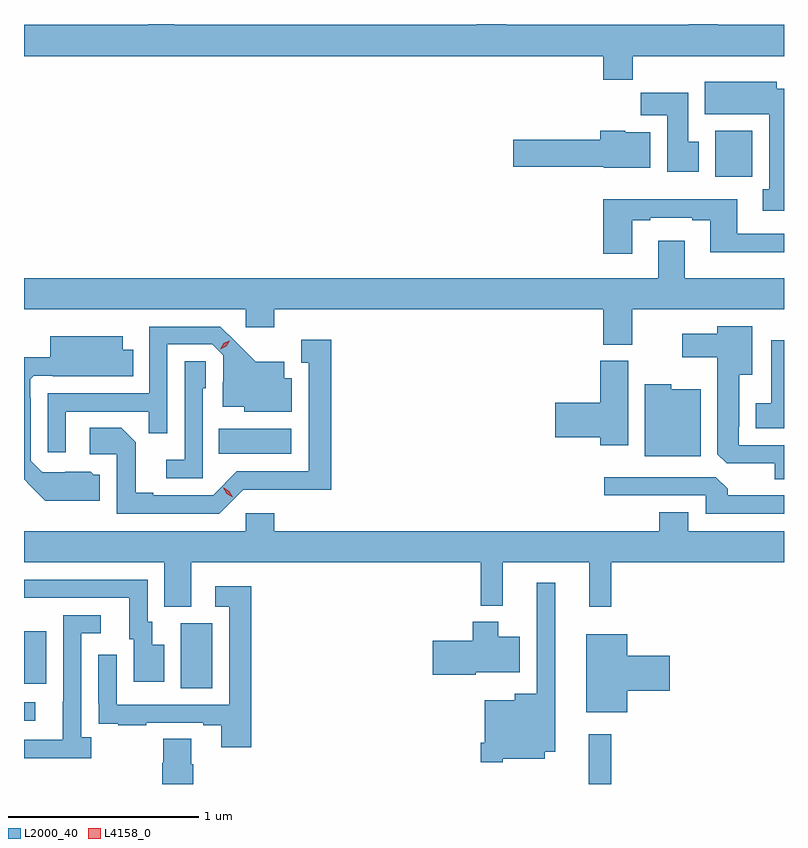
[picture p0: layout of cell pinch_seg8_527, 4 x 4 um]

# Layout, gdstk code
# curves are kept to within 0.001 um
import gdstk
lib = gdstk.Library(unit=1e-6, precision=1e-09)
def R(c, l, rs):  # rectangles x0, y0, x1, y1
    for r in rs: c.add(gdstk.rectangle(r[:2], r[2:], *l))
def P(c, l, *ps):  # polygons
    for p in ps: c.add(gdstk.Polygon(p, *l))
L2000_40 = (2000, 40)
L4158_0 = (4158, 0)

pinch_seg8_527 = lib.new_cell('pinch_seg8_527')
R(pinch_seg8_527, L2000_40, [(121.111,1103.345,121.229,1103.608), (118.138,1103.679,118.198,1103.775), (118.964,1103.848,119.128,1104.192), (118.138,1103.873,118.255,1104.148), (119.164,1105.082,119.545,1105.216), (121.775,1106.54,121.972,1106.782)])
P(pinch_seg8_527, L2000_40, [(121.343,1107.176),(122.138,1107.176),(122.138,1107.34),(121.79,1107.34),(121.79,1107.345),(121.637,1107.345),(121.637,1107.34),(120.677,1107.34),(120.677,1107.345),(120.521,1107.345),(120.521,1107.34),(118.93,1107.34),(118.93,1107.345),(118.791,1107.345),(118.791,1107.34),(118.138,1107.34),(118.138,1107.176),(121.187,1107.176),(121.187,1107.052),(121.343,1107.052)],
  [(122.138,1107.004),(122.101,1107.004),(122.101,1107.04),(121.721,1107.04),(121.721,1106.87),(122.06,1106.87),(122.06,1106.474),(122.027,1106.474),(122.027,1106.361),(122.138,1106.361)],
  [(121.69,1106.724),(121.633,1106.724),(121.633,1106.982),(121.384,1106.982),(121.384,1106.864),(121.523,1106.864),(121.523,1106.568),(121.69,1106.568)],
  [(121.435,1106.776),(121.302,1106.776),(121.302,1106.782),(121.172,1106.782),(121.172,1106.736),(120.714,1106.736),(120.714,1106.594),(121.188,1106.594),(121.188,1106.588),(121.435,1106.588)],
  [(121.339,1106.313),(121.435,1106.313),(121.435,1106.325),(121.655,1106.325),(121.655,1106.313),(121.751,1106.313),(121.751,1106.144),(122.138,1106.144),(122.138,1106.241),(121.891,1106.241),(121.891,1106.422),(121.187,1106.422),(121.187,1106.136),(121.339,1106.136)],
  [(121.339,1105.844),(122.138,1105.844),(122.138,1106.008),(121.615,1106.008),(121.615,1106.203),(121.475,1106.203),(121.475,1106.008),(118.138,1106.008),(118.138,1105.844),(119.304,1105.844),(119.304,1105.749),(119.456,1105.749),(119.456,1105.844),(121.187,1105.844),(121.187,1105.657),(121.339,1105.657)],
  [(122.138,1105.128),(121.899,1105.128),(121.899,1105.225),(121.903,1105.225),(121.903,1105.499),(121.972,1105.499),(121.972,1105.753),(121.787,1105.753),(121.787,1105.714),(121.602,1105.714),(121.602,1105.592),(121.787,1105.592),(121.787,1105.081),(121.836,1105.032),(122.09,1105.032),(122.09,1104.949),(122.138,1104.949)],
  [(118.359,1105.305),(118.795,1105.305),(118.795,1105.192),(118.893,1105.192),(118.893,1105.659),(119.13,1105.659),(119.187,1105.602),(119.187,1105.46),(119.183,1105.46),(119.183,1105.331),(119.298,1105.331),(119.298,1105.304),(119.548,1105.304),(119.548,1105.48),(119.509,1105.48),(119.509,1105.567),(119.357,1105.567),(119.17,1105.752),(118.797,1105.752),(118.797,1105.401),(118.263,1105.401),(118.263,1105.092),(118.359,1105.092)],
  [(118.537,1104.972),(118.506,1104.972),(118.49,1104.988),(118.233,1104.987),(118.173,1105.047),(118.173,1105.376),(118.17,1105.376),(118.17,1105.476),(118.188,1105.494),(118.288,1105.494),(118.288,1105.49),(118.712,1105.49),(118.712,1105.63),(118.657,1105.63),(118.657,1105.702),(118.277,1105.702),(118.277,1105.591),(118.138,1105.591),(118.138,1104.948),(118.249,1104.836),(118.537,1104.836)],
  [(119.292,1104.894),(119.755,1104.893),(119.755,1105.684),(119.597,1105.684),(119.597,1105.563),(119.636,1105.563),(119.636,1104.99),(119.259,1104.99),(119.133,1104.864),(118.819,1104.864),(118.819,1104.877),(118.725,1104.877),(118.725,1105.144),(118.649,1105.22),(118.485,1105.22),(118.485,1105.08),(118.626,1105.08),(118.626,1104.768),(119.166,1104.768)],
  [(122.138,1105.681),(122.072,1105.681),(122.072,1105.348),(121.988,1105.348),(121.988,1105.217),(122.138,1105.217)],
  [(121.318,1105.572),(121.172,1105.572),(121.172,1105.352),(120.933,1105.352),(120.933,1105.169),(121.172,1105.169),(121.172,1105.128),(121.318,1105.128)],
  [(119.079,1105.428),(119.094,1105.428),(119.094,1105.571),(118.983,1105.571),(118.983,1105.051),(118.887,1105.051),(118.887,1104.954),(119.079,1104.954)],
  [(121.699,1105.423),(121.545,1105.423),(121.545,1105.45),(121.406,1105.45),(121.406,1105.07),(121.699,1105.07)],
  [(122.138,1104.864),(121.841,1104.864),(121.841,1104.898),(121.779,1104.96),(121.191,1104.96),(121.191,1104.864),(121.725,1104.864),(121.725,1104.768),(122.138,1104.768)],
  [(119.017,1104.512),(120.541,1104.512),(120.541,1104.284),(120.659,1104.284),(120.659,1104.512),(121.112,1104.512),(121.112,1104.279),(121.229,1104.279),(121.229,1104.512),(122.138,1104.512),(122.138,1104.676),(121.633,1104.676),(121.633,1104.775),(121.481,1104.775),(121.481,1104.676),(119.456,1104.676),(119.456,1104.769),(119.304,1104.769),(119.304,1104.676),(118.138,1104.676),(118.138,1104.512),(118.877,1104.512),(118.877,1104.277),(119.017,1104.277)],
  [(118.876,1104.079),(118.813,1104.079),(118.813,1104.198),(118.788,1104.198),(118.788,1104.42),(118.138,1104.42),(118.138,1104.324),(118.691,1104.324),(118.691,1104.108),(118.715,1104.108),(118.715,1103.883),(118.876,1103.883)],
  [(120.657,1103.477),(120.88,1103.477),(120.88,1103.516),(120.934,1103.516),(120.934,1104.403),(120.837,1104.403),(120.837,1103.821),(120.722,1103.821),(120.722,1103.785),(120.563,1103.785),(120.563,1103.563),(120.542,1103.563),(120.542,1103.459),(120.657,1103.459)],
  [(119.333,1104.385),(119.145,1104.385),(119.145,1104.279),(119.217,1104.279),(119.217,1103.763),(118.626,1103.763),(118.626,1104.025),(118.53,1104.025),(118.53,1103.77),(118.531,1103.77),(118.531,1103.661),(118.633,1103.661),(118.633,1103.655),(118.781,1103.655),(118.781,1103.667),(119.081,1103.667),(119.081,1103.655),(119.177,1103.655),(119.177,1103.538),(119.333,1103.538)],
  [(118.492,1103.59),(118.44,1103.59),(118.44,1104.138),(118.543,1104.138),(118.543,1104.234),(118.344,1104.234),(118.344,1103.777),(118.343,1103.777),(118.343,1103.577),(118.138,1103.577),(118.138,1103.48),(118.492,1103.48)],
  [(120.516,1103.933),(120.748,1103.933),(120.748,1104.121),(120.634,1104.121),(120.634,1104.199),(120.5,1104.199),(120.5,1104.099),(120.288,1104.099),(120.288,1103.921),(120.516,1103.921)],
  [(121.312,1103.837),(121.537,1103.837),(121.537,1104.02),(121.312,1104.02),(121.312,1104.133),(121.097,1104.133),(121.097,1103.723),(121.312,1103.723)],
  [(119.03,1103.45),(119.017,1103.45),(119.017,1103.582),(118.87,1103.582),(118.87,1103.457),(118.865,1103.457),(118.865,1103.345),(119.03,1103.345)])
P(pinch_seg8_527, L4158_0, [(119.236,1104.853),(119.205,1104.872),(119.187,1104.905),(119.187,1104.905),(119.188,1104.905),(119.219,1104.886),(119.236,1104.853),(119.236,1104.853)],
  [(119.172,1105.634),(119.172,1105.634),(119.189,1105.664),(119.219,1105.679),(119.22,1105.679),(119.22,1105.678),(119.202,1105.649),(119.172,1105.634)])

lib.write_gds('pinch_seg8_527.gds')
